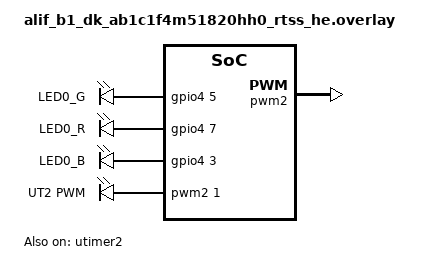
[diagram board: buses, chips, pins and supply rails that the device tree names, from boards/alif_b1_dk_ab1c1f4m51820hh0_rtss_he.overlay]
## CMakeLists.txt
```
# Copyright (C) 2026 Alif Semiconductor - All Rights Reserved.
# Use, distribution and modification of this code is permitted under the
# terms stated in the Alif Semiconductor Software License Agreement
#
# You should have received a copy of the Alif Semiconductor Software
# License Agreement with this file. If not, please write to:
# contact@alifsemi.com, or visit: https://alifsemi.com/license

cmake_minimum_required(VERSION 3.20.0)
find_package(Zephyr REQUIRED HINTS $ENV{ZEPHYR_BASE})
project(le_multiprofile)

target_sources(app PRIVATE
    src/main.c
    src/prxp_rom_1_2.c
    src/cgms_rom_1_2.c
)
```

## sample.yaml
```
sample:
  name: LE Multiprofile
tests:
  sample.bt_custom.le_multiprofile:
    build_only: true
    filter: dt_alias_exists("led0")
    tags:
      - bluetooth
      - bt_custom
```

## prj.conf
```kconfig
# Copyright (C) 2026 Alif Semiconductor - All Rights Reserved.
# Use, distribution and modification of this code is permitted under the
# terms stated in the Alif Semiconductor Software License Agreement
#
# You should have received a copy of the Alif Semiconductor Software
# License Agreement with this file. If not, please write to:
# contact@alifsemi.com, or visit: https://alifsemi.com/license

# BLE ROM-related
CONFIG_BT=y
CONFIG_BT_CUSTOM=y

# Device name
CONFIG_BLE_DEVICE_NAME="ALIF_MULTI"

# Stack
CONFIG_MAIN_STACK_SIZE=4096
CONFIG_SYSTEM_WORKQUEUE_STACK_SIZE=4096
CONFIG_HEAP_MEM_POOL_SIZE=4096

# Logging
CONFIG_LOG=y
CONFIG_LOG_DEFAULT_LEVEL=3
CONFIG_PRINTK=y
CONFIG_ASSERT=y

# Console output over UART
CONFIG_UART_CONSOLE=y
CONFIG_STDOUT_CONSOLE=y

# Entropy
CONFIG_ENTROPY_GENERATOR=y
CONFIG_TEST_RANDOM_GENERATOR=y
```

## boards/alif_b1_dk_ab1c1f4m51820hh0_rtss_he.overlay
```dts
/* Copyright (C) 2024 Alif Semiconductor - All Rights Reserved.
 * Use, distribution and modification of this code is permitted under the
 * terms stated in the Alif Semiconductor Software License Agreement
 *
 * You should have received a copy of the Alif Semiconductor Software
 * License Agreement with this file. If not, please write to:
 * contact@alifsemi.com, or visit: https://alifsemi.com/license
 */



&{/} {
	aliases {
		led0 = &aled0;
		led1 = &aled1;
		led2 = &aled2;
		pwm-led0 = &pwm_ut2;
		sw0 = &button0;
	};
	leds {
		compatible = "gpio-leds";
		aled0: led_0 {
			gpios = <&gpio4 5 0>;
			label = "LED0_G";
		};

		aled1: led_1 {
			gpios = <&gpio4 7 0>;
			label = "LED0_R";
		};

		aled2: led_2 {
			gpios = <&gpio4 3 0>;
			label = "LED0_B";
		};
	};

	pwmleds {

		compatible = "pwm-leds";
		pwm_ut2: pwm_ut2 {
			pwms = <&pwm2 1 PWM_MSEC(20) PWM_POLARITY_NORMAL>;
			label = "UT2 PWM";
		};
	};
};

&utimer2 {
	status = "okay";
	pwm2: pwm2 {
		pinctrl-0 = < &pinctrl_ut2 >;
		pinctrl-names = "default";
		status = "okay";
	};
};

/* for "buttons" node gpio5_7, enable software pull-up */
&pinctrl_gpio5 {
	group0 {
		pinmux = < PIN_P5_0__GPIO >,
			 < PIN_P5_1__GPIO >,
			 < PIN_P5_2__GPIO >,
			 < PIN_P5_3__GPIO >,
			 < PIN_P5_4__GPIO >,
			 < PIN_P5_5__GPIO >,
			 < PIN_P5_6__GPIO >,
			 < PIN_P5_7__GPIO >;
		read-enable = < 0x1 >;
	};

	group1 {
		pinmux = < PIN_P5_7__GPIO >;
		driver-state-control = <1>;
	};
};
```

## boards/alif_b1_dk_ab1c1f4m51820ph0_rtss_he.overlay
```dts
/* Copyright (C) 2026 Alif Semiconductor - All Rights Reserved.
 * Use, distribution and modification of this code is permitted under the
 * terms stated in the Alif Semiconductor Software License Agreement
 *
 * You should have received a copy of the Alif Semiconductor Software
 * License Agreement with this file. If not, please write to:
 * contact@alifsemi.com, or visit: https://alifsemi.com/license
 */



&{/} {
	aliases {
		led0 = &aled0;
		led1 = &aled1;
		led2 = &aled2;
		pwm-led0 = &pwm_ut2;
		sw0 = &button0;
	};
	leds {
		compatible = "gpio-leds";
		aled0: led_0 {
			gpios = <&gpio4 5 0>;
			label = "LED0_G";
		};

		aled1: led_1 {
			gpios = <&gpio4 7 0>;
			label = "LED0_R";
		};

		aled2: led_2 {
			gpios = <&gpio4 3 0>;
			label = "LED0_B";
		};
	};

	pwmleds {

		compatible = "pwm-leds";
		pwm_ut2: pwm_ut2 {
			pwms = <&pwm2 1 PWM_MSEC(20) PWM_POLARITY_NORMAL>;
			label = "UT2 PWM";
		};
	};
};

&utimer2 {
	status = "okay";
	pwm2: pwm2 {
		status = "okay";
	};
};

/* for "buttons" node gpio5_7, enable software pull-up */
&pinctrl_gpio5 {
	group0 {
		pinmux = < PIN_P5_0__GPIO >,
			 < PIN_P5_1__GPIO >,
			 < PIN_P5_2__GPIO >,
			 < PIN_P5_3__GPIO >,
			 < PIN_P5_4__GPIO >,
			 < PIN_P5_5__GPIO >,
			 < PIN_P5_6__GPIO >,
			 < PIN_P5_7__GPIO >;
		read-enable = < 0x1 >;
	};

	group1 {
		pinmux = < PIN_P5_7__GPIO >;
		driver-state-control = <1>;
	};
};
```

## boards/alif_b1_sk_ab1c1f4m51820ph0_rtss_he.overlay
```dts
/* Copyright (C) 2025 Alif Semiconductor - All Rights Reserved.
 * Use, distribution and modification of this code is permitted under the
 * terms stated in the Alif Semiconductor Software License Agreement
 *
 * You should have received a copy of the Alif Semiconductor Software
 * License Agreement with this file. If not, please write to:
 * contact@alifsemi.com, or visit: https://alifsemi.com/license
 */



&{/} {
	aliases {
		led0 = &aled0;
		led1 = &aled1;
		led2 = &aled2;
		pwm-led0 = &pwm_ut2;
		sw0 = &button0;
	};
	leds {
		compatible = "gpio-leds";
		aled0: led_0 {
			gpios = <&gpio4 5 0>;
			label = "LED0_G";
		};

		aled1: led_1 {
			gpios = <&gpio4 7 0>;
			label = "LED0_R";
		};

		aled2: led_2 {
			gpios = <&gpio4 3 0>;
			label = "LED0_B";
		};
	};

	pwmleds {

		compatible = "pwm-leds";
		pwm_ut2: pwm_ut2 {
			pwms = <&pwm2 1 PWM_MSEC(20) PWM_POLARITY_NORMAL>;
			label = "UT2 PWM";
		};
	};
};

&utimer2 {
	status = "okay";
	pwm2: pwm2 {
		status = "okay";
	};
};

/* for "buttons" node gpio5_7, enable software pull-up */
&pinctrl_gpio5 {
	group0 {
		pinmux = < PIN_P5_0__GPIO >,
			 < PIN_P5_1__GPIO >,
			 < PIN_P5_2__GPIO >,
			 < PIN_P5_3__GPIO >,
			 < PIN_P5_4__GPIO >,
			 < PIN_P5_5__GPIO >,
			 < PIN_P5_6__GPIO >,
			 < PIN_P5_7__GPIO >;
		read-enable = < 0x1 >;
	};

	group1 {
		pinmux = < PIN_P5_7__GPIO >;
		driver-state-control = <1>;
	};
};
```

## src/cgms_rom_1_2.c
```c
/* Copyright (C) 2025 Alif Semiconductor - All Rights Reserved.
 * Use, distribution and modification of this code is permitted under the
 * terms stated in the Alif Semiconductor Software License Agreement
 *
 * You should have received a copy of the Alif Semiconductor Software
 * License Agreement with this file. If not, please write to:
 * contact@alifsemi.com, or visit: https://alifsemi.com/license
 */

#include <zephyr/kernel.h>
#include <zephyr/logging/log.h>
#include "prf_types.h"
#include "cgmss.h"
#include "shared_control.h"
#include "co_time.h"

LOG_MODULE_REGISTER(cgms, LOG_LEVEL_DBG);


#define CGMS_RUN_TIME_HOURS (5)
#define CGMS_CGM_TYPE CGMS_TYPE_CAPILLARY_WHOLE_BLOOD
#define CGMS_SAMPLE_LOCATION CGMS_SAMPLE_LOCATION_FINGER

typedef struct {
	prf_date_time_t date_time;
	int8_t time_zone;
	uint8_t dst_offset;
} app_start_time_t;

typedef struct {
	uint8_t cccd_state_bf;
} app_bond_data_t;

typedef struct {
	app_bond_data_t bond_data;
	app_start_time_t start_time;
	bool ready_to_send;
} app_env_t;

/* Dummy starting values for glucose and time offset */
uint16_t glucose = 0x00AA;
uint16_t time_offset_minutes = 0x00BB;

/* BLE definitions */
#define local_sec_level GAP_SEC1_AUTH_PAIR_ENC

struct shared_control *s_shared_ptr;

const char cgms_char_name[CGMS_CHAR_TYPE_MAX][31] = {
	"CGM Measurement",
	"CGM Feature",
	"Record Access Control Point",
	"CGM Specific Ops Control Point",
	"CGM Status",
	"CGM Session Start Time",
	"CGM Session Run Time",
};

static app_env_t app_env;

/*
 * CGMS callbacks
 */
static void on_set_session_start_time_req(uint8_t conidx, uint16_t token, co_buf_t *p_buf)
{
	/* for the sample application, a session is started during startup */
	uint16_t status = PRF_ERR_REQ_DISALLOWED;

	LOG_DBG("Sample application continuously running a sesison");
	cgmss_set_value_cfm(conidx, status, token);
}

static void on_value_req(uint8_t conidx, uint8_t char_type, uint16_t token)
{
	co_buf_t *p_buf;
	uint8_t *p_data;
	uint16_t length;

	switch (char_type) {
	case CGMS_CHAR_TYPE_FEATURE:
		length = CGMS_FEATURE_LEN;
		break;

	case CGMS_CHAR_TYPE_STATUS:
		length = CGMS_STATUS_LEN;
		break;

	case CGMS_CHAR_TYPE_SESSION_START_TIME:
		length = CGMS_SESSION_START_TIME_LEN;
		break;

	default:
		length = CGMS_SESSION_RUN_TIME_LEN;
		break;
	}

	cgms_buf_alloc(&p_buf, length);
	p_data = co_buf_data(p_buf);

	switch (char_type) {
	case CGMS_CHAR_TYPE_FEATURE:
		/* CGM Feature field */
		*p_data++ = 0u;

		/* CGMSS_E2E_CRC */
		*p_data++ = 0u;
		*p_data++ = 0u;

		/* CGM Type-Sample Location field */
		*p_data = CGMS_CGM_TYPE
			| (CGMS_SAMPLE_LOCATION << 4);
		break;

	case CGMS_CHAR_TYPE_STATUS:
		/* Time offset field */
		co_write16(p_data, co_htole16(time_offset_minutes));
		p_data += 2u;
		/* CGM Status field */
		*p_data++ = 0u;
		*p_data++ = 0u;
		*p_data = 0u;
		break;

	case CGMS_CHAR_TYPE_SESSION_START_TIME:
		/* Session Start Time field */
		co_write16(p_data, co_htole16(app_env.start_time.date_time.year));
		p_data += 2u;
		*p_data++ = app_env.start_time.date_time.month;
		*p_data++ = app_env.start_time.date_time.day;
		*p_data++ = app_env.start_time.date_time.hour;
		*p_data++ = app_env.start_time.date_time.min;
		*p_data++ = app_env.start_time.date_time.sec;
		/* Time Zone field */
		*p_data++ = app_env.start_time.time_zone;
		/* DST Offset field */
		*p_data = app_env.start_time.dst_offset;
		break;

	default:
		uint16_t time = CGMS_RUN_TIME_HOURS;

		co_write16(p_data, co_htole16(time));
		break;
	}

	cgmss_value_cfm(conidx, token, char_type, p_buf);
	co_buf_release(p_buf);

	LOG_DBG("Read request for %s characteristic", cgms_char_name[char_type]);
}

static void on_control_req(uint8_t conidx, uint8_t char_type, uint16_t token, co_buf_t *p_buf)
{
	/* No records stored for this sample application */
	uint16_t status = PRF_ERR_REQ_DISALLOWED;

	LOG_DBG("No records available");
	cgmss_set_value_cfm(conidx, status, token);
}

static void on_get_cccd_req(uint8_t conidx, uint8_t char_type, uint16_t token)
{
	co_buf_t *p_buf;
	uint16_t value;

	value = PRF_CLI_STOP_NTFIND;

	if ((app_env.bond_data.cccd_state_bf & CO_BIT(char_type)) != 0) {
		value = (char_type == CGMS_CHAR_TYPE_MEASUREMENT) ? PRF_CLI_START_NTF
		: PRF_CLI_START_IND;
	}

	cgms_buf_alloc(&p_buf, PRF_CCC_DESC_LEN);
	co_write16(co_buf_data(p_buf), co_htole16(value));
	cgmss_get_cccd_cfm(conidx, token, p_buf);
	co_buf_release(p_buf);

	LOG_DBG("Get CCCD request for %s characteristic", cgms_char_name[char_type]);
}

static void on_set_cccd_req(uint8_t conidx, uint8_t char_type, uint16_t token, co_buf_t *p_buf)
{
	uint16_t status = GAP_ERR_NO_ERROR;
	uint16_t value;

	value = co_letoh16(co_read16(co_buf_data(p_buf)));

	if (value != PRF_CLI_STOP_NTFIND) {
		if (((char_type == CGMS_CHAR_TYPE_MEASUREMENT) && (value == PRF_CLI_START_NTF))
			|| ((char_type != CGMS_CHAR_TYPE_MEASUREMENT)
			&& (value == PRF_CLI_START_IND))) {
			app_env.bond_data.cccd_state_bf |= CO_BIT(char_type);
			app_env.ready_to_send = true;
		} else {
			status = ATT_ERR_VALUE_NOT_ALLOWED;
		}
	} else {
		app_env.bond_data.cccd_state_bf &= ~CO_BIT(char_type);
		app_env.ready_to_send = false;
	}
	cgmss_set_value_cfm(conidx, status, token);
}

static void on_sent(uint8_t conidx, uint8_t char_type, uint16_t status)
{
	app_env.ready_to_send = true;
}

static const cgmss_cbs_t cgms_cb = {
	.cb_set_session_start_time_req = on_set_session_start_time_req,
	.cb_value_req = on_value_req,
	.cb_control_req = on_control_req,
	.cb_get_cccd_req = on_get_cccd_req,
	.cb_set_cccd_req = on_set_cccd_req,
	.cb_sent = on_sent,
};

static void set_start_time(void)
{
	/* dummy session start date and time */
	app_env.start_time.date_time.year = 2025;
	app_env.start_time.date_time.month = 1;
	app_env.start_time.date_time.day = 1;
	app_env.start_time.date_time.hour = 0;
	app_env.start_time.date_time.min = 0;
	app_env.start_time.date_time.sec = 0;
	app_env.start_time.time_zone = 10;
	app_env.start_time.dst_offset = 0;
}

void server_configure(void)
{
	uint16_t err;
	uint16_t start_hdl = 0;
	uint8_t cgmss_cfg_bf = 0;

	err = prf_add_profile(TASK_ID_CGMSS, local_sec_level, 0, &cgmss_cfg_bf,
			&cgms_cb, &start_hdl);

	if (err) {
		LOG_ERR("Error %u adding profile", err);
	}

	/* Set sample start time for CGMS session */
	set_start_time();
}

/*  Generate and send dummy data*/
static void send_measurement(uint16_t current_value)
{
	uint16_t err;

	co_buf_t *p_buf;
	uint8_t *p_data;

	cgms_buf_alloc(&p_buf, CGMS_MEASUREMENT_MIN_LEN);
	p_data = co_buf_data(p_buf);

	/* Size field */
	*p_data++ = CGMS_MEASUREMENT_MIN_LEN;
	/* Flags field */
	*p_data++ = 0u;
	/* CGM Glucose Concentration field */
	co_write16(p_data, co_htole16(glucose));
	p_data += 2;
	/* Time Offset field */
	co_write16(p_data, co_htole16(time_offset_minutes));

	err = cgmss_send_measurement(0, p_buf);
	co_buf_release(p_buf);

	if (err) {
		LOG_ERR("Error %u sending measurement", err);
	}
}

void cgms_process(uint16_t measurement)
{
	/* Dummy measurement data */
	glucose = (glucose >= 0x00DD ? 0x00A9 : glucose) + 1;
	time_offset_minutes = (time_offset_minutes >= 0x00EE ? 0x00BA : time_offset_minutes) + 1;

	if (s_shared_ptr->connected && app_env.ready_to_send) {
		send_measurement(measurement);
		app_env.ready_to_send = false;
	}
}

void addr_res_done(void)
{
}

void service_conn_cgms(struct shared_control *ctrl)
{
	s_shared_ptr = ctrl;
}

void disc_notify(uint16_t reason)
{
	app_env.ready_to_send = false;
	app_env.bond_data.cccd_state_bf = 0;
}
```

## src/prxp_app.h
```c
/* Copyright (C) 2026 Alif Semiconductor - All Rights Reserved.
 * Use, distribution and modification of this code is permitted under the
 * terms stated in the Alif Semiconductor Software License Agreement
 *
 * You should have received a copy of the Alif Semiconductor Software
 * License Agreement with this file. If not, please write to:
 * contact@alifsemi.com, or visit: https://alifsemi.com/license
 */

#ifndef PRXP_APP_H
#define PRXP_APP_H

/**
 * @brief Configure and register the Proximity Profile server (LLSS only).
 *
 * Registers the Link Loss Service (LLSS) with the BLE stack using
 * prf_add_profile(). IASS and TPSS are excluded to stay within the
 * profile task limit.
 */
void prxp_server_configure(void);

/**
 * @brief Process Immediate Alert Service (IAS) alert level.
 *
 * Should be called periodically while connected. Logs a warning if
 * a mild or high alert level is active.
 */
void ias_process(void);

/**
 * @brief Handle disconnection event for the Proximity Profile.
 *
 * Triggers a link loss alert via ll_notify() if the disconnection
 * was not initiated by the remote user. Resets the IAS alert level.
 *
 * @param reason  HCI disconnection reason code.
 */
void prxp_disc_notify(uint16_t reason);


#endif /* PRXP_APP_H */
```

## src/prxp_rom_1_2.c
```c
/* Copyright (C) 2026 Alif Semiconductor - All Rights Reserved.
 * Use, distribution and modification of this code is permitted under the
 * terms stated in the Alif Semiconductor Software License Agreement
 *
 * You should have received a copy of the Alif Semiconductor Software
 * License Agreement with this file. If not, please write to:
 * contact@alifsemi.com, or visit: https://alifsemi.com/license
 */

#include <zephyr/kernel.h>
#include <zephyr/logging/log.h>
#include "alif_ble.h"
#include "gapm_le_adv.h"
#include "co_buf.h"
#include "shared_control.h"

/* Profiles definitions */
#include "llss.h"
#include "iass.h"
#include "tpss.h"
#include "prxp_app.h"

LOG_MODULE_REGISTER(prxp, LOG_LEVEL_DBG);

void ll_notify(void);
void ias_reset(void);

/* profile callbacks */
static uint8_t ll_level;
static uint8_t iass_level;

void ll_notify(void)
{
	if (ll_level != LLS_ALERT_LEVEL_NONE) {
		LOG_WRN("Link lost alert with level 0x%02x", ll_level);
		ll_level = LLS_ALERT_LEVEL_NONE;
	}
}

void ias_reset(void)
{
	iass_level = IAS_ALERT_LEVEL_NONE;
}

static void on_get_level_req(uint8_t conidx, uint16_t token)
{
	co_buf_t *p_buf;

	prf_buf_alloc(&p_buf, LLS_ALERT_LEVEL_SIZE);
	*co_buf_data(p_buf) = ll_level;
	llss_get_level_cfm(conidx, token, p_buf);
	co_buf_release(p_buf);

	LOG_DBG("Level requested");
}

static void on_set_level_req(uint8_t conidx, uint16_t token, co_buf_t *p_buf)
{
	uint8_t level = *co_buf_data(p_buf);
	uint16_t status;

	if (level < LLS_ALERT_LEVEL_MAX) {
		ll_level = level;
		status = GAP_ERR_NO_ERROR;
		LOG_INF("Set level requested: %d", level);
	} else {
		status = ATT_ERR_VALUE_NOT_ALLOWED;
	}

	llss_set_level_cfm(conidx, status, token);
}

static const llss_cbs_t llss_cb = {
	.cb_get_level_req = on_get_level_req,
	.cb_set_level_req = on_set_level_req,
};

/* Add profile to the stack */
void prxp_server_configure(void)
{
	uint16_t err;

	/* Dynamic allocation of service start handle */
	uint16_t start_hdl = 0;

	alif_ble_mutex_lock(K_FOREVER);
	err = prf_add_profile(TASK_ID_LLSS, 0, 0, NULL, &llss_cb, &start_hdl);
	alif_ble_mutex_unlock();

	if (err) {
		LOG_ERR("Error %u adding profile", err);
	}
}

void ias_process(void)
{
	/* IAS alert shall continue until disconnection or set to None */
	if (iass_level == IAS_ALERT_LEVEL_MILD) {
		LOG_WRN("IAS mild alert");
	} else if (iass_level == IAS_ALERT_LEVEL_HIGH) {
		LOG_WRN("IAS high alert");
	}
}

void prxp_disc_notify(uint16_t reason)
{
	if (reason != LL_ERR_REMOTE_USER_TERM_CON) {
		ll_notify();
	}
	ias_reset();
}
```
